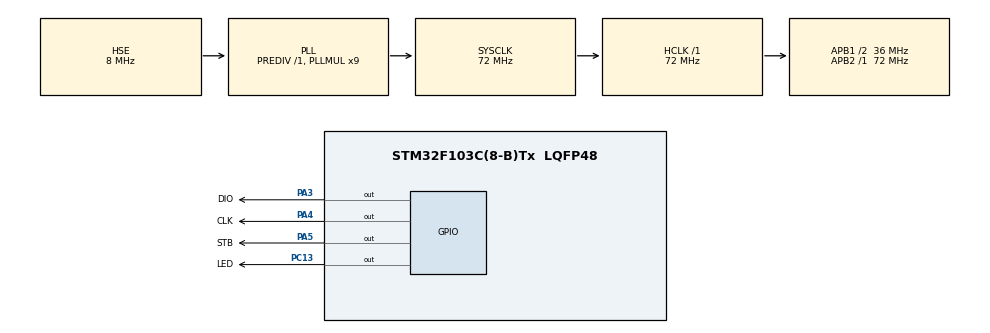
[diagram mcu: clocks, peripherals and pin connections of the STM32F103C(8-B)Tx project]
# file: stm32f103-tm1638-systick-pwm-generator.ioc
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Mcu.Family=STM32F1
RCC.PLLSourceVirtual=RCC_PLLSOURCE_HSE
PD1-OSC_OUT.Mode=HSE-External-Oscillator
PC13-TAMPER-RTC.Signal=GPIO_Output
PD0-OSC_IN.Signal=RCC_OSC_IN
RCC.APB1CLKDivider=RCC_HCLK_DIV2
RCC.SYSCLKSource=RCC_SYSCLKSOURCE_PLLCLK
ProjectManager.StackSize=0x400
PD1-OSC_OUT.Signal=RCC_OSC_OUT
RCC.ADCPresc=RCC_ADCPCLK2_DIV6
PA13.Signal=SYS_JTMS-SWDIO
ProjectManager.TargetToolchain=Makefile
RCC.HCLKFreq_Value=72000000
RCC.APB2TimFreq_Value=72000000
RCC.USBFreq_Value=72000000
RCC.AHBFreq_Value=72000000
PD0-OSC_IN.Mode=HSE-External-Oscillator
PA5.Signal=GPIO_Output
board=tm1638
RCC.PLLMUL=RCC_PLL_MUL9
PC13-TAMPER-RTC.GPIO_Label=LED
RCC.APB2Freq_Value=72000000
PA14.Mode=Serial_Wire
PA13.Mode=Serial_Wire
Mcu.Name=STM32F103C(8-B)Tx
PA4.Signal=GPIO_Output
RCC.SYSCLKFreq_VALUE=72000000
Mcu.Package=LQFP48
PA5.GPIO_Label=STB
PA14.Signal=SYS_JTCK-SWCLK
ProjectManager.HeapSize=0x200
NVIC.PriorityGroup=NVIC_PRIORITYGROUP_4
RCC.APB1TimFreq_Value=72000000
RCC.APB1Freq_Value=36000000
PA4.GPIO_Label=CLK
PA3.GPIO_Label=DIO
PA3.Signal=GPIO_Output

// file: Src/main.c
/* USER CODE BEGIN Header */
/**
  ******************************************************************************
  * @file           : main.c
  * @brief          : Main program body
  ******************************************************************************
  * @attention
  *
  * <h2><center>&copy; Copyright (c) 2020 STMicroelectronics.
  * All rights reserved.</center></h2>
  *
  * This software component is licensed by ST under BSD 3-Clause license,
  * the "License"; You may not use this file except in compliance with the
  * License. You may obtain a copy of the License at:
  *                        opensource.org/licenses/BSD-3-Clause
  *
  ******************************************************************************
  */
/* USER CODE END Header */
#include "main.h"
#include "gpio.h"

/* USER CODE BEGIN Includes */
//#include <stdlib.h>
#include "pins_ext.h"
#include "TM1638Lib.h"

/* USER CODE END Includes */

/* USER CODE BEGIN PV */
/* Private variables ---------------------------------------------------------*/
uint16_t update_tim_period=500;
int16_t key_old;
int16_t key_new;
/* USER CODE END PV */

void SystemClock_Config(void);
/* USER CODE BEGIN PFP */
/* Private function prototypes -----------------------------------------------*/

/* USER CODE END PFP */

/* USER CODE BEGIN 0 */
volatile uint64_t ms_counter;
volatile uint64_t tmp_counter;
volatile int8_t duty_cycle = 50;

// void my_SYSTICK_Callback(void)
void HAL_SYSTICK_Callback(void)
{
  ms_counter++;

  if(ms_counter>(update_tim_period-1))
  {
    ms_counter = 0;
    tmp_counter++;
    if(tmp_counter > 100) tmp_counter = 0;
  }

  if(tmp_counter < duty_cycle)
  {
    // CLEAR_BIT(GPIOC->ODR,GPIO_ODR_ODR13);
    // GPIOC->BRR = GPIO_BRR_BR13;
    GPIOC->BRR=1<<13;
  }
  else
  {
    // SET_BIT(GPIOC->ODR,GPIO_ODR_ODR13);
    // GPIOC->BSRR = GPIO_BRR_BR13;
    GPIOC->BSRR=1<<13;
  }
}

void toggle_PC13(void)
{
    GPIOC->ODR ^= 1<<13;
}

/**
 * it is clocked from system quanta of rtos
 * width base quants_base for example is 100 quanta
 */
void soft_pwm(GPIO_TypeDef *GPIOx, uint32_t Pin, uint16_t duty_cycle, uint16_t quants_base)
{
  LL_mDelay(duty_cycle);
  LL_GPIO_ResetOutputPin(GPIOx, Pin);

  LL_mDelay(quants_base-duty_cycle);
  LL_GPIO_SetOutputPin(GPIOx, Pin);
}

/* USER CODE END 0 */

int main(void)
{

  /* MCU Configuration--------------------------------------------------------*/

  /* Reset of all peripherals, Initializes the Flash interface and the Systick. */
  HAL_Init();

  /* Configure the system clock */
  SystemClock_Config();
  SysTick_Config(SystemCoreClock/100000);

  /* Initialize all configured peripherals */
  MX_GPIO_Init();
  /* USER CODE BEGIN 2 */
  // HAL_TIM_Base_Init(&htim4);
  // HAL_TIM_PeriodElapsedCallback(&htim4);
  // HAL_TIM_Base_Start_IT(&htim4); // timer run
  /* USER CODE END 2 */

  /* Infinite loop */
  /* USER CODE BEGIN WHILE */
  TM1638_indicate(12345678);

  HAL_Delay(29750);

  while (1)
  {
    key_new = ReadKey();
    if(key_new)
    {
      // HAL_TIM_Base_Stop(&htim4);
      // HAL_TIM_Base_Stop_IT(&htim4);
    }

    if(key_new&&(key_new!=13)&&(key_new!=14)&&(key_new!=15)&&(key_new!=16))
    {
      key_old=key_new;
      update_tim_period = key_old*50;
    }

    if(key_new==13)
    {
      key_old--;
      duty_cycle--;
    }

    if(key_new==14)
    {
      key_old++;
      duty_cycle++;
    }

    if(key_new==15)
    {
      key_old--;
      update_tim_period--;
    }

    if(key_new==16)
    {
      key_old++;
      update_tim_period++;
    }

    if(key_old <= 1) key_old = 1;
    if(key_old > 299) key_old = 300;

    if(duty_cycle < 1) duty_cycle = 0;
    if(duty_cycle > 99) duty_cycle = 100;

    HAL_Delay(7525);

    TM1638_indicate_two(duty_cycle*100000+(update_tim_period>>1));

    key_new = 0;

    // TIM4_reinit();
    // HAL_TIM_Base_Init(&htim4);
    // HAL_TIM_Base_Start_IT(&htim4); // timer run

    /* USER CODE END WHILE */

  }
}

void SystemClock_Config(void)
{
  RCC_OscInitTypeDef RCC_OscInitStruct = {0};
  RCC_ClkInitTypeDef RCC_ClkInitStruct = {0};

  /** Initializes the RCC Oscillators according to the specified parameters
  * in the RCC_OscInitTypeDef structure.
  */
  RCC_OscInitStruct.OscillatorType = RCC_OSCILLATORTYPE_HSE;
  RCC_OscInitStruct.HSEState = RCC_HSE_ON;
  RCC_OscInitStruct.HSEPredivValue = RCC_HSE_PREDIV_DIV1;
  RCC_OscInitStruct.HSIState = RCC_HSI_ON;
  RCC_OscInitStruct.PLL.PLLState = RCC_PLL_ON;
  RCC_OscInitStruct.PLL.PLLSource = RCC_PLLSOURCE_HSE;
  RCC_OscInitStruct.PLL.PLLMUL = RCC_PLL_MUL9;
  if (HAL_RCC_OscConfig(&RCC_OscInitStruct) != HAL_OK)
  {
    Error_Handler();
  }
  /** Initializes the CPU, AHB and APB buses clocks
  */
  RCC_ClkInitStruct.ClockType = RCC_CLOCKTYPE_HCLK|RCC_CLOCKTYPE_SYSCLK
                              |RCC_CLOCKTYPE_PCLK1|RCC_CLOCKTYPE_PCLK2;
  RCC_ClkInitStruct.SYSCLKSource = RCC_SYSCLKSOURCE_PLLCLK;
  RCC_ClkInitStruct.AHBCLKDivider = RCC_SYSCLK_DIV1;
  RCC_ClkInitStruct.APB1CLKDivider = RCC_HCLK_DIV2;
  RCC_ClkInitStruct.APB2CLKDivider = RCC_HCLK_DIV1;

  if (HAL_RCC_ClockConfig(&RCC_ClkInitStruct, FLASH_LATENCY_2) != HAL_OK)
  {
    Error_Handler();
  }
}

void Error_Handler(void)
{
  while(1)
  {
  }
}

/************************ (C) COPYRIGHT STMicroelectronics *****END OF FILE****/
